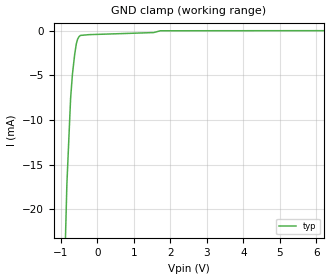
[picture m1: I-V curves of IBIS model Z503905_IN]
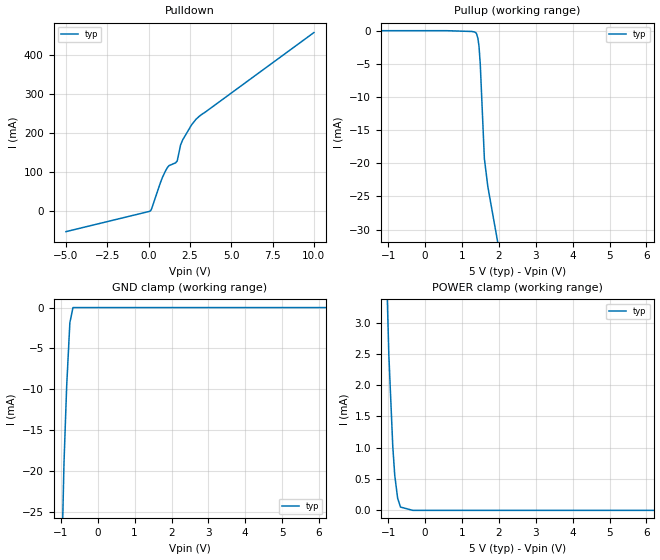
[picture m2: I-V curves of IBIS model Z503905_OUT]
| YOU ARE ONLY AUTHORIZED TO USE THIS SOFTWARE
| ACCORDING TO LICENSOR'S LICENSE RESTRICTIONS.
[IBIS Ver] 3.1
[File Name] mc54f11j.ibs
[File Rev] 2.0
[Source] Measured and created by ICX Technology
[Date] Friday 7/14/00 9:08:02 AM
[Copyright]
| (C) COPYRIGHT 1993-2000
| MENTOR GRAPHICS CORPORATION
| ICX STANDARD LIBRARY, ICX PROJECT MODELING,
| ICX CUSTOM MODELING, ICX VENDOR MODEL
| ALL RIGHTS RESERVED.
| THE FOLLOWING ARE TRADEMARKS OR SERVICE MARKS OF
| MENTOR GRAPHICS CORPORATION:ICX (R), ICX STANDARD
| LIBRARY(R), ICX PROJECT MODELING(R), ICX CUSTOM
| MODELING(R), qualityIBIS(TM), MODELVIEWER(TM),
| AND MODELEDITOR(TM)
| ALL COPIES OF SOFTWARE, INCLUDING BUT NOT LIMITED TO
| ANY MODIFICATIONS, ENHANCEMENTS OR DERIVATIVE WORKS,
| MUST CONTAIN ALL MENTOR GRAPHICS CORPORATION'S
| NOTICES AND LEGENDS, INCLUDING THOSE EMBEDDED IN
| SOFTWARE AND THOSE AFFIXED TO SOFTWARE MEDIUM
| AND CONTAINER, AS RECEIVED FROM MENTOR GRAPHICS
| CORPORATION.
|  ZAP Model Builder 2.7
[Component] MC54F11J
[Manufacturer] OnSemiconductor
[Package]
| variable   typ   min   max
R_pkg  .21ohms NA NA
L_pkg  4.543nH NA NA
C_pkg  1.8pF NA NA
[Pin] signal_name  model_name  R_pin  L_pin C_pin
1 A Z503905_IN .22 6.757n 2.434p
2 B Z503905_IN .212 4.757n 1.941p
3 A Z503905_IN .204 3.257n 1.448p
4 B Z503905_IN .196 2.257n .955p
5 C Z503905_IN .204 3.257n 1.448p
6 Y Z503905_OUT .212 4.757n 1.941p
7 GND GND .22 6.757n 2.434p
8 Y Z503905_OUT .22 6.757n 2.434p
9 A Z503905_IN .212 4.757n 1.941p
10 B Z503905_IN .204 3.257n 1.448p
11 C Z503905_IN .196 2.257n .955p
12 Y Z503905_OUT .204 3.257n 1.448p
13 C Z503905_IN .212 4.757n 1.941p
14 VCC POWER .22 6.757n 2.434p
| Models and submodels in the file (2): Z503905_IN (Input), Z503905_OUT (Output)
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| (C) COPYRIGHT 1993-2000
| MENTOR GRAPHICS CORPORATION
| ICX STANDARD LIBRARY, ICX PROJECT MODELING,
| ICX CUSTOM MODELING, ICX VENDOR MODEL
| ALL RIGHTS RESERVED.
| THE FOLLOWING ARE TRADEMARKS OR SERVICE MARKS OF
| MENTOR GRAPHICS CORPORATION:ICX (R), ICX STANDARD
| LIBRARY(R), ICX PROJECT MODELING(R), ICX CUSTOM
| MODELING(R), qualityIBIS(TM), MODELVIEWER(TM),
| AND MODELEDITOR(TM)
| ALL COPIES OF SOFTWARE, INCLUDING BUT NOT LIMITED TO
| ANY MODIFICATIONS, ENHANCEMENTS OR DERIVATIVE WORKS,
| MUST CONTAIN ALL MENTOR GRAPHICS CORPORATION'S
| NOTICES AND LEGENDS, INCLUDING THOSE EMBEDDED IN
| SOFTWARE AND THOSE AFFIXED TO SOFTWARE MEDIUM
| AND CONTAINER, AS RECEIVED FROM MENTOR GRAPHICS
| CORPORATION.
| Model Application Version 1.89 2/18/99.
[Model] Z503905_IN
Model_type Input
Vinl = 800.0mV
Vinh = 2.000V
C_comp 4.000pF NA NA
| variable typ   min   max
[Voltage Range] 5.000V NA NA
[GND Clamp Reference] 0.000V NA NA
[POWER Clamp Reference] 5.000V NA NA
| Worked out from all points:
|   GND clamp passes 1 mA (typ) near -0.54 V on its own axis
[GND Clamp]
-5V       -664.9mA   NA         NA
-834.4mV  -17.22mA   NA         NA
-732.4mV  -7.59mA    NA         NA
-681.3mV  -4.836mA   NA         NA
-620.2mV  -2.639mA   NA         NA
-575.9mV  -1.476mA   NA         NA
-541.3mV  -950.4uA   NA         NA
-499.4mV  -649uA     NA         NA
-461.9mV  -525.5uA   NA         NA
1.545V    -206uA     NA         NA
1.724V    -6.221uA   NA         NA
10V       17.03uA    NA         NA
[POWER Clamp]
-5V       0A         NA         NA
10V       0A         NA         NA
| (C) COPYRIGHT 1993-2000
| MENTOR GRAPHICS CORPORATION
| ICX STANDARD LIBRARY, ICX PROJECT MODELING,
| ICX CUSTOM MODELING, ICX VENDOR MODEL
| ALL RIGHTS RESERVED.
| THE FOLLOWING ARE TRADEMARKS OR SERVICE MARKS OF
| MENTOR GRAPHICS CORPORATION:ICX (R), ICX STANDARD
| LIBRARY(R), ICX PROJECT MODELING(R), ICX CUSTOM
| MODELING(R), qualityIBIS(TM), MODELVIEWER(TM),
| AND MODELEDITOR(TM)
| ALL COPIES OF SOFTWARE, INCLUDING BUT NOT LIMITED TO
| ANY MODIFICATIONS, ENHANCEMENTS OR DERIVATIVE WORKS,
| MUST CONTAIN ALL MENTOR GRAPHICS CORPORATION'S
| NOTICES AND LEGENDS, INCLUDING THOSE EMBEDDED IN
| SOFTWARE AND THOSE AFFIXED TO SOFTWARE MEDIUM
| AND CONTAINER, AS RECEIVED FROM MENTOR GRAPHICS
| CORPORATION.
| Model Application Version 1.89 2/18/99.
[Model] Z503905_OUT
Model_type Output
Vref=0.000V
Rref=500.0ohms
Cref=50.00pF
Vmeas=1.500V
C_comp 8.000pF NA NA
| variable typ   min   max
[Voltage Range] 5.000V NA NA
[POWER Clamp Reference] 5.000V NA NA
[Pullup Reference] 5.000V NA NA
[Pulldown Reference] 0.000V NA NA
[GND Clamp Reference] 0.000V NA NA
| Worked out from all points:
|   slope of the pulldown table from 0 to 0.75 V, typ, clamps not added: 9.64 ohm
|   slope of the pullup table from 0 to 0.75 V, typ, clamps not added: 26.4 kohm
|   GND clamp passes 1 mA (typ) near -0.72 V on its own axis
|   POWER clamp passes 1 mA (typ) near -0.88 V on its own axis
[GND Clamp]
-5V       -1.514A    NA         NA
-1.177V   -84.98mA   NA         NA
-1.044V   -44.85mA   NA         NA
-916.5mV  -19.12mA   NA         NA
-844.6mV  -9.75mA    NA         NA
-756.9mV  -1.851mA   NA         NA
-672.8mV  0A         NA         NA
10V       0A         NA         NA
[Pulldown]
-5V       -53.1mA    NA         NA
68.59mV   -1.064mA   NA         NA
184.9mV   5.571mA    NA         NA
709.2mV   71.61mA    NA         NA
1.033V    103.2mA    NA         NA
1.237V    115.9mA    NA         NA
1.728V    127.5mA    NA         NA
1.938V    169.1mA    NA         NA
2.066V    182mA      NA         NA
2.598V    220.1mA    NA         NA
2.866V    234.4mA    NA         NA
10V       456.3mA    NA         NA
[Pullup]
-5V       18.78uA    NA         NA
586mV     18.78uA    NA         NA
1.26V     -97.81uA   NA         NA
1.343V    -175.8uA   NA         NA
1.382V    -335.7uA   NA         NA
1.398V    -508uA     NA         NA
1.431V    -1.159mA   NA         NA
1.46V     -2.308mA   NA         NA
1.494V    -4.984mA   NA         NA
1.606V    -19.29mA   NA         NA
1.7V      -23.53mA   NA         NA
10V       -283.2mA   NA         NA
[POWER Clamp]
-5V       146.3mA    NA         NA
-1.098V   4.916mA    NA         NA
-986mV    2.492mA    NA         NA
-879mV    1.026mA    NA         NA
-825mV    556.6uA    NA         NA
-747mV    194.4uA    NA         NA
-669mV    52.14uA    NA         NA
-334.5mV  0A         NA         NA
10V       0A         NA         NA
[Ramp]
| variable typ min max
dV/dt_r 2.038/2.346n NA NA
dV/dt_f 2.038/840.9p NA NA
R_load = 500.0Ohms
